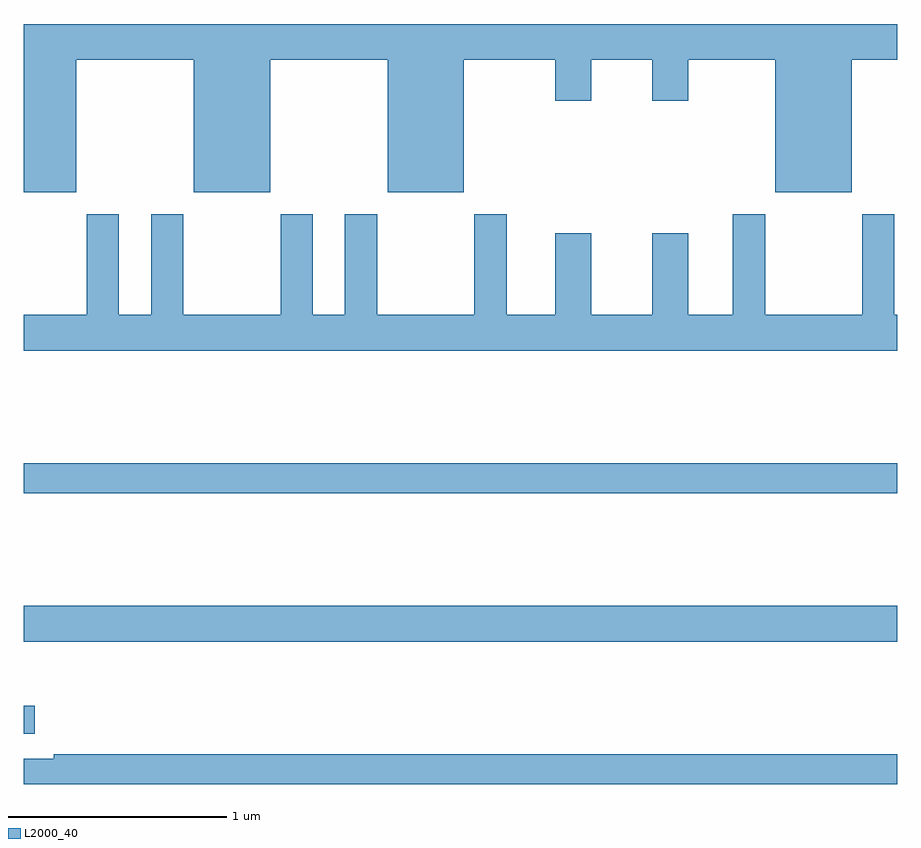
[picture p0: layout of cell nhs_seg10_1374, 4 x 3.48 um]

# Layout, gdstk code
import gdstk
lib = gdstk.Library(unit=1e-6, precision=1e-09)
def R(c, l, rs):  # rectangles x0, y0, x1, y1
    for r in rs: c.add(gdstk.rectangle(r[:2], r[2:], *l))
def P(c, l, *ps):  # polygons
    for p in ps: c.add(gdstk.Polygon(p, *l))
L2000_40 = (2000, 40)

nhs_seg10_1374 = lib.new_cell('nhs_seg10_1374')
R(nhs_seg10_1374, L2000_40, [(181,1325.201,181.051,1325.331), (181,1325.624,185,1325.788), (181,1326.304,185,1326.44)])
P(nhs_seg10_1374, L2000_40, [(181,1327.682),(181.24,1327.682),(181.24,1328.288),(181.778,1328.288),(181.778,1327.682),(182.128,1327.682),(182.128,1328.288),(182.666,1328.288),(182.666,1327.682),(183.016,1327.682),(183.016,1328.288),(183.434,1328.288),(183.434,1328.1),(183.598,1328.1),(183.598,1328.288),(183.878,1328.288),(183.878,1328.1),(184.042,1328.1),(184.042,1328.288),(184.442,1328.288),(184.442,1327.682),(184.792,1327.682),(184.792,1328.288),(185,1328.288),(185,1328.452),(181,1328.452)],
  [(185,1327.12),(184.987,1327.12),(184.987,1327.582),(184.84,1327.582),(184.84,1327.12),(184.395,1327.12),(184.395,1327.582),(184.247,1327.582),(184.247,1327.12),(184.042,1327.12),(184.042,1327.495),(183.878,1327.495),(183.878,1327.12),(183.598,1327.12),(183.598,1327.495),(183.434,1327.495),(183.434,1327.12),(183.211,1327.12),(183.211,1327.582),(183.064,1327.582),(183.064,1327.12),(182.619,1327.12),(182.619,1327.582),(182.471,1327.582),(182.471,1327.12),(182.323,1327.12),(182.323,1327.582),(182.176,1327.582),(182.176,1327.12),(181.731,1327.12),(181.731,1327.582),(181.583,1327.582),(181.583,1327.12),(181.435,1327.12),(181.435,1327.582),(181.288,1327.582),(181.288,1327.12),(181,1327.12),(181,1326.956),(185,1326.956)],
  [(185,1325.108),(181.138,1325.108),(181.138,1325.088),(181,1325.088),(181,1324.972),(185,1324.972)])

lib.write_gds('nhs_seg10_1374.gds')
